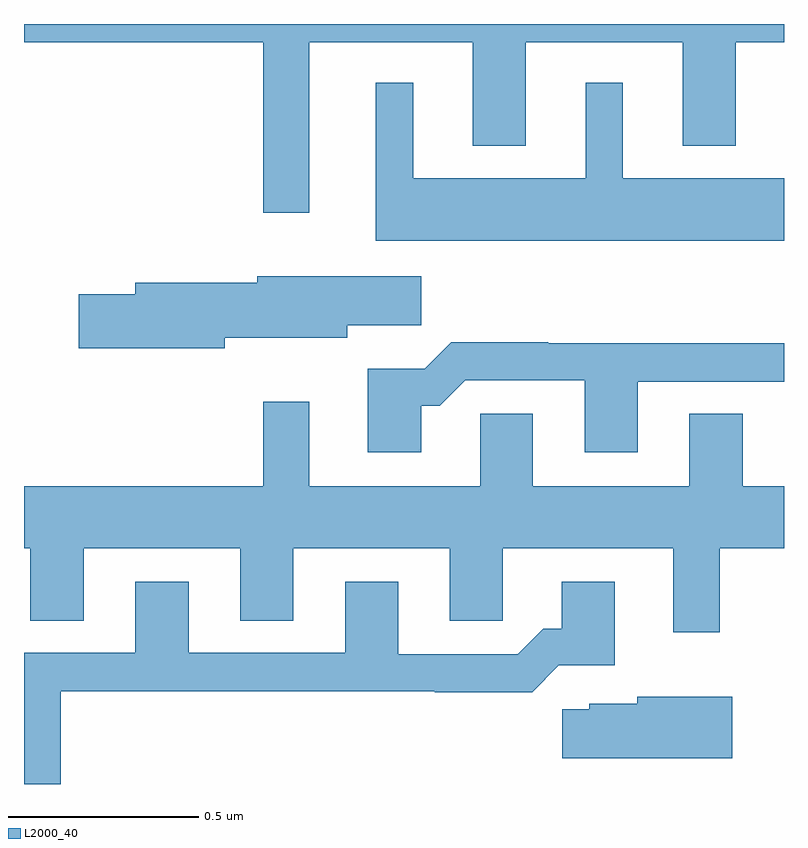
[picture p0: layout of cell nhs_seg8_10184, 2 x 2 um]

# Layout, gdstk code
import gdstk
lib = gdstk.Library(unit=1e-6, precision=1e-09)
def P(c, l, *ps):  # polygons
    for p in ps: c.add(gdstk.Polygon(p, *l))
L2000_40 = (2000, 40)

nhs_seg8_10184 = lib.new_cell('nhs_seg8_10184')
P(nhs_seg8_10184, L2000_40, [(246.751,1097.852),(247.181,1097.852),(247.181,1097.579),(247.321,1097.579),(247.321,1097.852),(247.733,1097.852),(247.733,1097.579),(247.873,1097.579),(247.873,1097.852),(248,1097.852),(248,1097.9),(246,1097.9),(246,1097.852),(246.63,1097.852),(246.63,1097.403),(246.751,1097.403)],
  [(248,1097.494),(247.576,1097.494),(247.576,1097.746),(247.478,1097.746),(247.478,1097.494),(247.024,1097.494),(247.024,1097.746),(246.926,1097.746),(246.926,1097.33),(248,1097.33)],
  [(246.528,1097.075),(246.85,1097.075),(246.85,1097.107),(247.045,1097.107),(247.045,1097.236),(246.614,1097.236),(246.614,1097.219),(246.293,1097.219),(246.293,1097.189),(246.144,1097.189),(246.144,1097.047),(246.528,1097.047)],
  [(247.045,1096.895),(247.094,1096.895),(247.161,1096.962),(247.475,1096.962),(247.475,1096.773),(247.615,1096.773),(247.615,1096.959),(248,1096.959),(248,1097.06),(247.379,1097.06),(247.379,1097.063),(247.124,1097.063),(247.054,1096.993),(246.905,1096.993),(246.905,1096.773),(247.045,1096.773)],
  [(247.831,1096.52),(248,1096.52),(248,1096.684),(247.891,1096.684),(247.891,1096.874),(247.751,1096.874),(247.751,1096.684),(247.339,1096.684),(247.339,1096.874),(247.2,1096.874),(247.2,1096.684),(246.751,1096.684),(246.751,1096.906),(246.63,1096.906),(246.63,1096.684),(246,1096.684),(246,1096.52),(246.017,1096.52),(246.017,1096.33),(246.157,1096.33),(246.157,1096.52),(246.569,1096.52),(246.569,1096.33),(246.709,1096.33),(246.709,1096.52),(247.121,1096.52),(247.121,1096.33),(247.26,1096.33),(247.26,1096.52),(247.709,1096.52),(247.709,1096.299),(247.831,1096.299)],
  [(246.097,1096.144),(247.081,1096.144),(247.081,1096.142),(247.337,1096.142),(247.407,1096.212),(247.555,1096.212),(247.555,1096.432),(247.415,1096.432),(247.415,1096.309),(247.366,1096.309),(247.299,1096.242),(246.985,1096.242),(246.985,1096.432),(246.845,1096.432),(246.845,1096.245),(246.433,1096.245),(246.433,1096.432),(246.293,1096.432),(246.293,1096.245),(246,1096.245),(246,1095.9),(246.097,1095.9)],
  [(247.864,1096.129),(247.614,1096.129),(247.614,1096.111),(247.488,1096.111),(247.488,1096.097),(247.416,1096.097),(247.416,1095.968),(247.864,1095.968)])

lib.write_gds('nhs_seg8_10184.gds')
